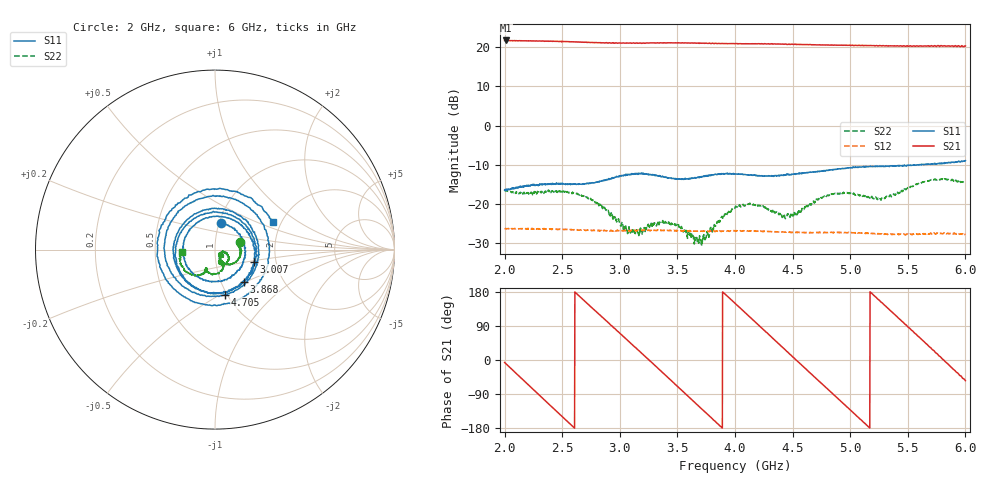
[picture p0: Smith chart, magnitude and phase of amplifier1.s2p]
#  HZ  S  DB  R  50.00
! Rohde & Schwarz ZVA24 4Ports - Version 3.60 - 1145.1110k28 SN: 101513
! Date: 2019-09-25 19:14:30
! Measurements: S33 S43 S34 S44
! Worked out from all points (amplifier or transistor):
!   1601 points, 2 GHz to 6 GHz, reference 50 ohm
!   highest |S21| = 21.7 dB at 2.01 GHz (marker M1)
!   |S21| within 3 dB of that: start of sweep to end of sweep
!   unconditionally stable (mu >= 1): start of sweep to end of sweep
!   at 2.665 GHz: K = 1.16, MAG = 21.6 dB, |S12| = -26.7 dB
!   at 4 GHz: K = 1.16, MAG = 21.4 dB, |S12| = -26.9 dB
!   at 6 GHz: K = 1.15, MAG = 21.7 dB, |S12| = -27.8 dB
!   S11 on the Smith chart (normalised r, x): 2 GHz: 1.02, +0.31; 3.007 GHz: 1.54, -0.22; 3.868 GHz: 1.28, -0.48; 4.705 GHz: 0.98, -0.53; 6 GHz: 1.80, +0.64
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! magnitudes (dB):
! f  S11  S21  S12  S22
! 2 GHz  -16.4  21.7  -26.2  -16.7
! 2.01 GHz  -16.5  21.7  -26.3  -16.6
! 2.667 GHz  -15.0  21.3  -26.7  -17.8
! 2.848 GHz  -14.0  21.1  -26.7  -20.9
! 3.007 GHz  -12.8  21.0  -26.8  -25.6
! 3.053 GHz  -12.4  21.0  -26.8  -25.8
! 3.152 GHz  -12.3  21.1  -26.7  -26.8
! 3.335 GHz  -12.8  21.1  -26.7  -24.9
! 3.493 GHz  -13.7  21.1  -26.7  -25.2
! 3.695 GHz  -13.1  21.0  -27.0  -28.6
! 3.868 GHz  -12.4  20.9  -26.8  -24.6
! 4 GHz  -12.4  20.9  -26.9  -20.9
! 4.225 GHz  -12.8  20.9  -27.0  -20.5
! 4.428 GHz  -12.6  20.8  -27.2  -22.9
! 4.55 GHz  -12.3  20.7  -27.2  -22.1
! 4.668 GHz  -11.9  20.7  -27.3  -19.9
! 4.705 GHz  -11.8  20.6  -27.3  -18.8
! 4.955 GHz  -10.9  20.5  -27.3  -17.2
! 5.25 GHz  -10.5  20.4  -27.6  -18.4
! 5.335 GHz  -10.4  20.3  -27.7  -18.2
! 5.715 GHz  -9.8  20.3  -27.7  -13.8
! 6 GHz  -8.9  20.3  -27.8  -14.8
